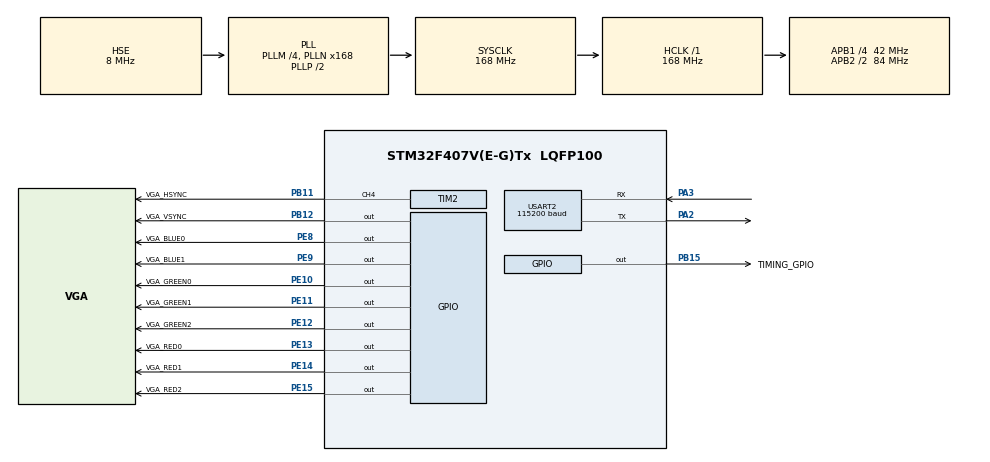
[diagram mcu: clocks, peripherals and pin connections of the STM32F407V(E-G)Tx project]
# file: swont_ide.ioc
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Dma.Request0=TIM1_UP
Dma.TIM1_UP.0.Direction=DMA_MEMORY_TO_PERIPH
Dma.TIM1_UP.0.FIFOMode=DMA_FIFOMODE_DISABLE
Dma.TIM1_UP.0.Instance=DMA2_Stream5
Dma.TIM1_UP.0.MemDataAlignment=DMA_MDATAALIGN_BYTE
Dma.TIM1_UP.0.MemInc=DMA_MINC_ENABLE
Dma.TIM1_UP.0.Mode=DMA_NORMAL
Dma.TIM1_UP.0.PeriphDataAlignment=DMA_PDATAALIGN_BYTE
Dma.TIM1_UP.0.PeriphInc=DMA_PINC_DISABLE
Dma.TIM1_UP.0.Priority=DMA_PRIORITY_VERY_HIGH
Mcu.Family=STM32F4
Mcu.Name=STM32F407V(E-G)Tx
Mcu.Package=LQFP100
NVIC.DMA2_Stream5_IRQn=true\:0\:0\:false\:false\:true\:false\:true
NVIC.PriorityGroup=NVIC_PRIORITYGROUP_4
NVIC.TIM2_IRQn=true\:0\:0\:true\:false\:true\:true\:true
NVIC.USART2_IRQn=true\:0\:0\:false\:false\:true\:true\:true
PA13.Mode=Serial_Wire
PA13.Signal=SYS_JTMS-SWDIO
PA14.Mode=Serial_Wire
PA14.Signal=SYS_JTCK-SWCLK
PA2.Mode=Asynchronous
PA2.Signal=USART2_TX
PA3.Mode=Asynchronous
PA3.Signal=USART2_RX
PB11.GPIO_Label=VGA_HSYNC
PB11.GPIO_Speed=GPIO_SPEED_FREQ_VERY_HIGH
PB11.Signal=S_TIM2_CH4
PB12.GPIO_Label=VGA_VSYNC
PB12.GPIO_PuPd=GPIO_NOPULL
PB12.GPIO_Speed=GPIO_SPEED_FREQ_VERY_HIGH
PB12.Signal=GPIO_Output
PB15.GPIO_Label=TIMING_GPIO
PB15.GPIO_ModeDefaultOutputPP=GPIO_MODE_OUTPUT_PP
PB15.GPIO_PuPd=GPIO_PULLUP
PB15.GPIO_Speed=GPIO_SPEED_FREQ_VERY_HIGH
PB15.PinState=GPIO_PIN_SET
PB15.Signal=GPIO_Output
PE10.GPIO_Label=VGA_GREEN0
PE10.GPIO_PuPd=GPIO_NOPULL
PE10.GPIO_Speed=GPIO_SPEED_FREQ_VERY_HIGH
PE10.Signal=GPIO_Output
PE11.GPIO_Label=VGA_GREEN1
PE11.GPIO_PuPd=GPIO_NOPULL
PE11.GPIO_Speed=GPIO_SPEED_FREQ_VERY_HIGH
PE11.Signal=GPIO_Output
PE12.GPIO_Label=VGA_GREEN2
PE12.GPIO_PuPd=GPIO_NOPULL
PE12.GPIO_Speed=GPIO_SPEED_FREQ_VERY_HIGH
PE12.Signal=GPIO_Output
PE13.GPIO_Label=VGA_RED0
PE13.GPIO_PuPd=GPIO_NOPULL
PE13.GPIO_Speed=GPIO_SPEED_FREQ_VERY_HIGH
PE13.Signal=GPIO_Output
PE14.GPIO_Label=VGA_RED1
PE14.GPIO_PuPd=GPIO_NOPULL
PE14.GPIO_Speed=GPIO_SPEED_FREQ_VERY_HIGH
PE14.Signal=GPIO_Output
PE15.GPIO_Label=VGA_RED2
PE15.GPIO_PuPd=GPIO_NOPULL
PE15.GPIO_Speed=GPIO_SPEED_FREQ_VERY_HIGH
PE15.Signal=GPIO_Output
PE8.GPIO_Label=VGA_BLUE0
PE8.GPIO_PuPd=GPIO_NOPULL
PE8.GPIO_Speed=GPIO_SPEED_FREQ_VERY_HIGH
PE8.Signal=GPIO_Output
PE9.GPIO_Label=VGA_BLUE1
PE9.GPIO_PuPd=GPIO_NOPULL
PE9.GPIO_Speed=GPIO_SPEED_FREQ_VERY_HIGH
PE9.Signal=GPIO_Output
PH0-OSC_IN.Mode=HSE-External-Oscillator
PH0-OSC_IN.Signal=RCC_OSC_IN
PH1-OSC_OUT.Mode=HSE-External-Oscillator
PH1-OSC_OUT.Signal=RCC_OSC_OUT
ProjectManager.HeapSize=0x200
ProjectManager.StackSize=0x400
ProjectManager.TargetToolchain=STM32CubeIDE
RCC.48MHZClocksFreq_Value=84000000
RCC.AHBFreq_Value=168000000
RCC.APB1CLKDivider=RCC_HCLK_DIV4
RCC.APB1Freq_Value=42000000
RCC.APB1TimFreq_Value=84000000
RCC.APB2CLKDivider=RCC_HCLK_DIV2
RCC.APB2Freq_Value=84000000
RCC.APB2TimFreq_Value=168000000
RCC.CortexFreq_Value=168000000
RCC.HCLKFreq_Value=168000000
RCC.HSE_VALUE=8000000
RCC.HSI_VALUE=16000000
RCC.LSE_VALUE=32768
RCC.PLLM=4
RCC.PLLN=168
RCC.PLLSourceVirtual=RCC_PLLSOURCE_HSE
RCC.SYSCLKFreq_VALUE=168000000
RCC.SYSCLKSource=RCC_SYSCLKSOURCE_PLLCLK
RCC.VCOOutputFreq_Value=336000000
SH.S_TIM2_CH4.0=TIM2_CH4,PWM Generation4 CH4
TIM1.Period=VGA_TIM1_PERIODE
TIM1.Prescaler=VGA_TIM1_PRESCALE
TIM2.AutoReloadPreload=TIM_AUTORELOAD_PRELOAD_DISABLE
TIM2.Channel-PWM\ Generation3\ No\ Output=TIM_CHANNEL_3
TIM2.Channel-PWM\ Generation4\ CH4=TIM_CHANNEL_4
TIM2.OCPolarity_3=TIM_OCPOLARITY_LOW
TIM2.OCPolarity_4=TIM_OCPOLARITY_LOW
TIM2.Period=VGA_TIM2_HSYNC_PERIODE
TIM2.Prescaler=VGA_TIM2_HSYNC_PRESCALE
TIM2.Pulse-PWM\ Generation3\ No\ Output=VGA_TIM2_HTRIGGER_START - VGA_TIM2_DMA_DELAY
TIM2.Pulse-PWM\ Generation4\ CH4=VGA_TIM2_HSYNC_IMP
USART2.BaudRate=115200
USART2.VirtualMode=VM_ASYNC
VP_TIM1_VS_ClockSourceINT.Mode=Internal
VP_TIM2_VS_no_output3.Mode=PWM Generation3 No Output
board=custom

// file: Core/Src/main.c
/* USER CODE BEGIN Header */
/**
  ******************************************************************************
  * @file           : main.c
  * @brief          : Main program body
  ******************************************************************************
  * @attention
  *
  * <h2><center>&copy; Copyright (c) 2020 STMicroelectronics.
  * All rights reserved.</center></h2>
  *
  * This software component is licensed by ST under BSD 3-Clause license,
  * the "License"; You may not use this file except in compliance with the
  * License. You may obtain a copy of the License at:
  *                        opensource.org/licenses/BSD-3-Clause
  *
  ******************************************************************************
  */

/** @addtogroup SWONT
  * @{
  */

/** @addtogroup MAIN
  * @{
  */

/* USER CODE END Header */

#include "main.h"
#include "dma.h"
#include "tim.h"
#include "usart.h"
#include "gpio.h"

/* USER CODE BEGIN Includes */
#include "stm32f4xx_hal.h"
#include "Tetris.h"

/* USER CODE END Includes */

void SystemClock_Config(void);

int main(void)
{

  /* MCU Configuration--------------------------------------------------------*/

  /* Reset of all peripherals, Initializes the Flash interface and the Systick. */
  HAL_Init();

  /* Configure the system clock */
  SystemClock_Config();

  /* USER CODE BEGIN SysInit */
//  uint8_t msg[] = "Starting VGA...\n";
  /* USER CODE END SysInit */

  /* Initialize all configured peripherals */
  MX_GPIO_Init();
  MX_DMA_Init();
  MX_TIM1_Init();
  MX_TIM2_Init();
  MX_USART2_UART_Init();
  /* USER CODE BEGIN 2 */
  // Reset line_rx buffer
  int i;
  for(i = 0; i < LINE_BUFLEN; i++)
	  input.line_rx_buffer[i] = 0;

  for(i = 0; i < 1024; i++)
	  container[i] = 0;
  temp = 0;

  // Reset some stuff
  input.byte_buffer_rx[0] = 0;
  input.char_counter = 0;
  input.command_execute_flag = FALSE;

  UB_VGA_Screen_Init(); // Init VGA-Screen

  UB_VGA_FillScreen(VGA_COL_WHITE);
  UB_VGA_SetPixel(10,10,10);
  UB_VGA_SetPixel(0,0,0x00);
  UB_VGA_SetPixel(319,0,0x00);

  HAL_UART_Receive_IT(&huart2, input.byte_buffer_rx, BYTE_BUFLEN);
//  HAL_UART_Transmit(&huart2, msg, (uint16_t)sizeof(msg), HAL_MAX_DELAY);
  int error = NO_ERROR;
  global_debug = FALSE;
  tetris_toggle = FALSE;

  /* USER CODE END 2 */

  /* Infinite loop */
  /* USER CODE BEGIN WHILE */
  while (1)
  {
	  if(input.command_execute_flag == TRUE)
	  {
//		  int i = 0;
//		  for(i = 0; i <= 255; i++)
//		  {
//			  IO_clearscreen(i);
//			  printf("The current color value:\n");
//			  printf("\t HEX:\t%02x\n",i);
//			  printf("\t DEC:\t%d\n",i);
//			  HAL_Delay(1000);
//		  }

		  FL_global_debug_check(); // Check if debugging is to be enabled
		  LL_tetris_check(); // Check if Tetris is to be played

		  input.command_execute_flag = FALSE;
		  UB_VGA_SetPixel(10,10,VGA_COL_GREEN); // Visual clue that something is happening

		  error = FL_uart_decode();
		  memset(&command,0,sizeof(command)); // Reset the whole struct for the next round

		  if(error)
			  FL_global_error_handler(error);

	  }

    /* USER CODE END WHILE */

  }
}

void SystemClock_Config(void)
{
  RCC_OscInitTypeDef RCC_OscInitStruct = {0};
  RCC_ClkInitTypeDef RCC_ClkInitStruct = {0};

  /** Configure the main internal regulator output voltage
  */
  __HAL_RCC_PWR_CLK_ENABLE();
  __HAL_PWR_VOLTAGESCALING_CONFIG(PWR_REGULATOR_VOLTAGE_SCALE1);
  /** Initializes the CPU, AHB and APB busses clocks
  */
  RCC_OscInitStruct.OscillatorType = RCC_OSCILLATORTYPE_HSE;
  RCC_OscInitStruct.HSEState = RCC_HSE_ON;
  RCC_OscInitStruct.PLL.PLLState = RCC_PLL_ON;
  RCC_OscInitStruct.PLL.PLLSource = RCC_PLLSOURCE_HSE;
  RCC_OscInitStruct.PLL.PLLM = 4;
  RCC_OscInitStruct.PLL.PLLN = 168;
  RCC_OscInitStruct.PLL.PLLP = RCC_PLLP_DIV2;
  RCC_OscInitStruct.PLL.PLLQ = 4;
  if (HAL_RCC_OscConfig(&RCC_OscInitStruct) != HAL_OK)
  {
    Error_Handler();
  }
  /** Initializes the CPU, AHB and APB busses clocks
  */
  RCC_ClkInitStruct.ClockType = RCC_CLOCKTYPE_HCLK|RCC_CLOCKTYPE_SYSCLK
                              |RCC_CLOCKTYPE_PCLK1|RCC_CLOCKTYPE_PCLK2;
  RCC_ClkInitStruct.SYSCLKSource = RCC_SYSCLKSOURCE_PLLCLK;
  RCC_ClkInitStruct.AHBCLKDivider = RCC_SYSCLK_DIV1;
  RCC_ClkInitStruct.APB1CLKDivider = RCC_HCLK_DIV4;
  RCC_ClkInitStruct.APB2CLKDivider = RCC_HCLK_DIV2;

  if (HAL_RCC_ClockConfig(&RCC_ClkInitStruct, FLASH_LATENCY_5) != HAL_OK)
  {
    Error_Handler();
  }
}

void Error_Handler(void)
{
}

/************************ (C) COPYRIGHT STMicroelectronics *****END OF FILE****/
